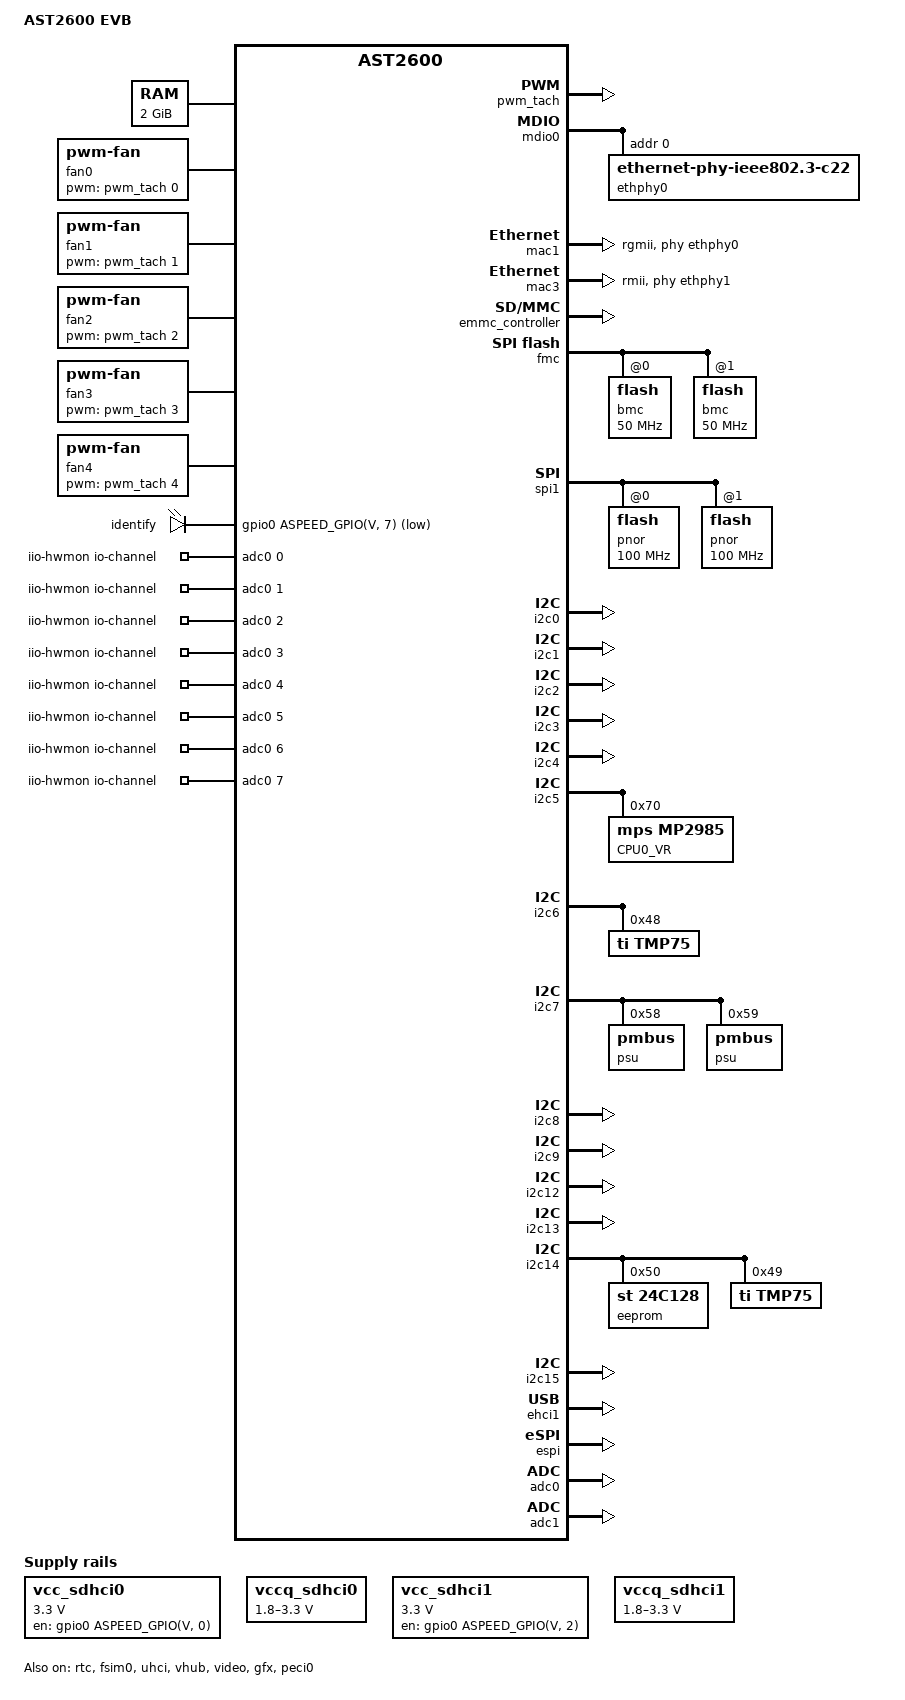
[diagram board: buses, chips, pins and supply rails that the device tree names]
// SPDX-License-Identifier: GPL-2.0-or-later
// Copyright 2019 IBM Corp.

/dts-v1/;

#include "aspeed-g6.dtsi"
#include <dt-bindings/gpio/aspeed-gpio.h>

/ {
	model = "AST2600 EVB";
	compatible = "aspeed,ast2600-evb", "aspeed,ast2600";

	aliases {
		serial4 = &uart5;
	};

	chosen {
		bootargs = "console=ttyS4,115200n8";
	};

	memory@80000000 {
		device_type = "memory";
		reg = <0x80000000 0x80000000>;
	};

	reserved-memory {
		#address-cells = <1>;
		#size-cells = <1>;
		ranges;

		video_engine_memory: video {
			size = <0x04000000>;
			alignment = <0x01000000>;
			compatible = "shared-dma-pool";
			reusable;
		};

		gfx_memory: framebuffer {
			size = <0x01000000>;
			alignment = <0x01000000>;
			compatible = "shared-dma-pool";
			reusable;
		};
	};

	vcc_sdhci0: regulator-vcc-sdhci0 {
		compatible = "regulator-fixed";
		regulator-name = "SDHCI0 Vcc";
		regulator-min-microvolt = <3300000>;
		regulator-max-microvolt = <3300000>;
		gpios = <&gpio0 ASPEED_GPIO(V, 0) GPIO_ACTIVE_HIGH>;
		enable-active-high;
	};

	vccq_sdhci0: regulator-vccq-sdhci0 {
		compatible = "regulator-gpio";
		regulator-name = "SDHCI0 VccQ";
		regulator-min-microvolt = <1800000>;
		regulator-max-microvolt = <3300000>;
		gpios = <&gpio0 ASPEED_GPIO(V, 1) GPIO_ACTIVE_HIGH>;
		gpios-states = <1>;
		states = <3300000 1>,
			 <1800000 0>;
	};

	vcc_sdhci1: regulator-vcc-sdhci1 {
		compatible = "regulator-fixed";
		regulator-name = "SDHCI1 Vcc";
		regulator-min-microvolt = <3300000>;
		regulator-max-microvolt = <3300000>;
		gpios = <&gpio0 ASPEED_GPIO(V, 2) GPIO_ACTIVE_HIGH>;
		enable-active-high;
	};

	vccq_sdhci1: regulator-vccq-sdhci1 {
		compatible = "regulator-gpio";
		regulator-name = "SDHCI1 VccQ";
		regulator-min-microvolt = <1800000>;
		regulator-max-microvolt = <3300000>;
		gpios = <&gpio0 ASPEED_GPIO(V, 3) GPIO_ACTIVE_HIGH>;
		gpios-states = <1>;
		states = <3300000 1>,
			 <1800000 0>;
	};

	fan0: pwm-fan0 {
		compatible = "pwm-fan";
		pwms = <&pwm_tach 0 40000 0>;        /* Target freq:25 kHz */
		cooling-min-state = <0>;
		cooling-max-state = <3>;
		#cooling-cells = <2>;
		cooling-levels = <0 25 128 255>;
	};

	fan1: pwm-fan1 {
		compatible = "pwm-fan";
		pwms = <&pwm_tach 1 40000 0>;        /* Target freq:25 kHz */
		cooling-min-state = <0>;
		cooling-max-state = <3>;
		#cooling-cells = <2>;
		cooling-levels = <0 15 128 255>;
	};

	fan2: pwm-fan2 {
		compatible = "pwm-fan";
		pwms = <&pwm_tach 2 40000 0>;        /* Target freq:25 kHz */
		cooling-min-state = <0>;
		cooling-max-state = <3>;
		#cooling-cells = <2>;
		cooling-levels = <0 15 128 255>;
	};

	fan3: pwm-fan3 {
		compatible = "pwm-fan";
		pwms = <&pwm_tach 3 40000 0>;        /* Target freq:25 kHz */
		cooling-min-state = <0>;
		cooling-max-state = <3>;
		#cooling-cells = <2>;
		cooling-levels = <0 15 128 255>;
	};

	fan4: pwm-fan4 {
		compatible = "pwm-fan";
		pwms = <&pwm_tach 4 40000 0>;        /* Target freq:25 kHz */
		cooling-min-state = <0>;
		cooling-max-state = <3>;
		#cooling-cells = <2>;
		cooling-levels = <0 15 128 255>;
	};

	leds {
		compatible = "gpio-leds";

		identify {
			gpios = <&gpio0 ASPEED_GPIO(V, 7) GPIO_ACTIVE_LOW>;
		};
	};

	iio-hwmon {
		compatible = "iio-hwmon";
		io-channels = <&adc0 0>, <&adc0 1>, <&adc0 2>, <&adc0 3>,
					<&adc0 4>, <&adc0 5>, <&adc0 6>, <&adc0 7>,
					<&adc1 0>, <&adc1 1>, <&adc1 2>, <&adc1 3>,
					<&adc1 4>, <&adc1 5>, <&adc1 6>, <&adc1 7>;
	};
};

&pwm_tach {
	status = "okay";
	pinctrl-names = "default";
	pinctrl-0 = <&pinctrl_pwm0_default
				&pinctrl_pwm1_default
				&pinctrl_pwm2_default
				&pinctrl_pwm3_default
				&pinctrl_pwm4_default
				&pinctrl_tach0_default
				&pinctrl_tach1_default
				&pinctrl_tach2_default
				&pinctrl_tach3_default
				&pinctrl_tach4_default>;
	fan-0 {
		tach-ch = /bits/ 8 <0x0>;
	};
	fan-1 {
		tach-ch = /bits/ 8 <0x1>;
	};
	fan-2 {
		tach-ch = /bits/ 8 <0x2>;
	};
	fan-3 {
		tach-ch = /bits/ 8 <0x3>;
	};
	fan-4 {
		tach-ch = /bits/ 8 <0x4>;
	};
};

&mdio0 {
	status = "okay";
	ethphy0: ethernet-phy@0 {
		compatible = "ethernet-phy-ieee802.3-c22";
		reg = <0>;
	};
};

&mdio1 {
	status = "disabled";

	ethphy1: ethernet-phy@0 {
		compatible = "ethernet-phy-ieee802.3-c22";
		reg = <0>;
	};
};

&mdio2 {
	status = "disabled";

	ethphy2: ethernet-phy@0 {
		compatible = "ethernet-phy-ieee802.3-c22";
		reg = <0>;
	};
};

&mdio3 {
	status = "disabled";

	ethphy3: ethernet-phy@0 {
		compatible = "ethernet-phy-ieee802.3-c22";
		reg = <0>;
	};
};

&mac0 {
	status = "disabled";

	phy-mode = "rgmii-rxid";
	phy-handle = <&ethphy0>;

	pinctrl-names = "default";
	pinctrl-0 = <&pinctrl_rgmii1_default>;
};


&mac1 {
	status = "okay";

	phy-mode = "rgmii";
	phy-handle = <&ethphy0>;

	pinctrl-names = "default";
	pinctrl-0 = <&pinctrl_rgmii2_default>;

	nvmem-cells = <&eth0_macaddress>;
	nvmem-cell-names = "mac-address";
};

&mac2 {
	status = "disabled";

	phy-mode = "rgmii";
	phy-handle = <&ethphy2>;

	pinctrl-names = "default";
	pinctrl-0 = <&pinctrl_rgmii3_default>;
};

&mac3 {
	status = "okay";

	phy-mode = "rmii";
	phy-handle = <&ethphy1>;
	use-ncsi;
	pinctrl-names = "default";
	pinctrl-0 = <&pinctrl_rmii4_default>;

	nvmem-cells = <&eth1_macaddress>;
	nvmem-cell-names = "mac-address";
};

&emmc_controller {
	status = "okay";
};

&emmc {
	status = "disabled";
	non-removable;
	bus-width = <4>;
	max-frequency = <100000000>;
	clk-phase-mmc-hs200 = <9>, <225>;
};

&rtc {
	status = "okay";
};

&fmc {
	status = "okay";
	flash@0 {
		status = "okay";
		m25p,fast-read;
		label = "bmc";
		spi-rx-bus-width = <4>;
		spi-max-frequency = <50000000>;
#include "openbmc-flash-layout-64.dtsi"
	};
	flash@1 {
		status = "okay";
		m25p,fast-read;
		label = "bmc";
		spi-rx-bus-width = <4>;
		spi-max-frequency = <50000000>;
	};
};

&spi1 {
	status = "okay";
	pinctrl-names = "default";
	pinctrl-0 = <&pinctrl_spi1_default>;

	flash@0 {
		status = "okay";
		m25p,fast-read;
		label = "pnor";
		spi-rx-bus-width = <4>;
		spi-max-frequency = <100000000>;
	};
	flash@1 {
		status = "okay";
		m25p,fast-read;
		label = "pnor";
		spi-rx-bus-width = <4>;
		spi-max-frequency = <100000000>;
	};
};

&uart5 {
	// Workaround for A0
	compatible = "snps,dw-apb-uart";
};

&i2c0 {
	status = "okay";
};

&i2c1 {
	status = "okay";
};

&i2c2 {
	status = "okay";
};

&i2c3 {
	status = "okay";
};

&i2c4 {
	status = "okay";
};

&i2c5 {
	status = "okay";
	CPU0_VR@70 {
		compatible = "mps,mp2985";
		reg = <0x70>;
	};
};

&i2c6 {
	status = "okay";
	tmp75@48 {
		compatible = "ti,tmp75";
		reg = <0x48>;
	};
};

&i2c7 {
	status = "okay";
	psu@58 {
		compatible = "pmbus";
		reg = <0x58>;
	};
	psu@59 {
		compatible = "pmbus";
		reg = <0x59>;
	};
};

&i2c8 {
	status = "okay";
};

&i2c9 {
	status = "okay";
};

&i2c12 {
	status = "okay";
};

&i2c13 {
	status = "okay";
};

&i2c14 {
	status = "okay";
	eeprom@50 {
		label = "eeprom";
		compatible = "st,24c128", "atmel,24c128";
		reg = <0x50>;
		pagesize = <16>;
		#address-cells = <1>;
		#size-cells = <1>;
		#nvmem-cell-cells = <2>;
		nvmem-layout {
			compatible = "fixed-layout";

			eth0_macaddress: macaddress@c9 {
				reg = <0xc9 6>;
			};

			eth1_macaddress: macaddress@e3 {
				reg = <0xe3 6>;
			};
		};
	};
	tmp75@49 {
		compatible = "ti,tmp75";
		reg = <0x49>;
	};
};

&i2c15 {
	status = "okay";
};

&fsim0 {
	status = "okay";
};

&ehci1 {
	status = "okay";
};

&uhci {
	status = "okay";
};

/*
 * The signal voltage of sdhci0 and sdhci1 on AST2600-A2 EVB is able to be
 * toggled by GPIO pins.
 * In the reference design, GPIOV0 of AST2600-A2 EVB is connected to the
 * power load switch that provides 3.3v to sdhci0 vdd, GPIOV1 is connected to
 * a 1.8v and a 3.3v power load switch that provides signal voltage to
 * sdhci0 bus.
 * If GPIOV0 is active high, sdhci0 is enabled, otherwise, sdhci0 is disabled.
 * If GPIOV1 is active high, 3.3v power load switch is enabled, sdhci0 signal
 * voltage is 3.3v, otherwise, 1.8v power load switch will be enabled,
 * sdhci0 signal voltage becomes 1.8v.
 * AST2600-A2 EVB also supports toggling signal voltage for sdhci1.
 * The design is the same as sdhci0, it uses GPIOV2 as power-gpio and GPIOV3
 * as power-switch-gpio.
 */

&vhub {
	status = "okay";
	pinctrl-names = "default";
};

&video {
	status = "okay";
	memory-region = <&video_engine_memory>;
};

&gfx {
	status = "okay";
	memory-region = <&gfx_memory>;
};

&espi {
	status = "okay";
};

&syscon {
	uart-clock-high-speed;
	mac1-clk-delay = <0x10 0x19
						0x10 0x10
						0x10 0x10>;
};

&gpio0 {
	/* Enable GPIOP0 and GPIOP2 pass-through by default */
	pinctrl-names = "pass-through";
	pinctrl-0 = <&pinctrl_thru0_default
				 &pinctrl_thru1_default>;
	gpio-line-names =
		/*A0 - A7*/     "", "", "", "", "", "", "", "",
		/*B0 - B7*/     "", "", "", "", "", "", "", "",
		/*C0 - C7*/     "", "", "", "", "", "", "", "",
		/*D0 - D7*/     "", "", "", "", "", "", "", "",
		/*E0 - E7*/     "", "", "", "", "", "", "", "",
		/*F0 - F7*/     "", "", "", "", "", "", "", "",
		/*G0 - G7*/     "", "", "cpld-fw-ready", "", "", "", "", "id-button",
		/*H0 - H7*/     "", "", "", "", "", "", "", "",
		/*I0 - I7*/     "", "", "", "", "", "", "", "",
		/*J0 - J7*/     "", "", "", "", "", "", "", "",
		/*K0 - K7*/     "", "", "", "", "", "", "", "",
		/*L0 - L7*/     "", "", "", "", "", "", "", "",
		/*M0 - M7*/     "", "", "", "", "", "", "", "",
		/*N0 - N7*/     "", "", "", "", "", "", "", "",
		/*O0 - O7*/     "", "", "", "", "", "", "", "",
		/*P0 - P7*/     "POWER_BUTTON", "POWER_OUT", "RESET_BUTTON", "RESET_OUT", "", "", "BAT_CTRL", "",
		/*Q0 - Q7*/     "", "", "", "", "", "", "", "",
		/*R0 - R7*/     "POST_COMPLETE", "", "", "", "", "", "", "",	// POST_COMPLETE is dummy
		/*S0 - S7*/     "", "", "", "", "", "", "", "",
		/*T0 - T7*/     "", "", "", "", "", "", "", "",
		/*U0 - U7*/     "", "", "", "", "", "", "", "",
		/*V0 - V7*/     "", "", "", "", "", "", "", "led-identify",
		/*W0 - W7*/     "", "", "", "", "", "", "", "",
		/*X0 - X7*/     "", "", "", "", "", "", "", "",
		/*Y0 - Y7*/     "", "", "", "", "", "", "", "",
		/*Z0 - Z7*/     "", "", "", "", "", "", "", "";
};

&gpio1{
	gpio-line-names =
	/*AA0 - AA7*/   "PS_PWROK", "", "", "", "", "", "", "",
	/*AB0 - AB7*/   "", "", "", "", "", "", "", "",
	/*AC0 - AC7*/   "", "", "", "", "", "", "", "";
};

&adc0 {
	status = "okay";

	aspeed,int-vref-microvolt = <2500000>;

	/*If you want to set external reference voltage(i.e. not 1.2V or 2.5V).
		You should add vref-supply property as below and set the microvolt
		value at vdd_adc_vref node.*/
	//vref-supply = <&vdd_adc_vref>;

	pinctrl-names = "default";
	pinctrl-0 = <&pinctrl_adc0_default &pinctrl_adc1_default
				&pinctrl_adc2_default &pinctrl_adc3_default
				&pinctrl_adc4_default &pinctrl_adc5_default
				&pinctrl_adc6_default &pinctrl_adc7_default>;
};

&adc1 {
	status = "okay";

	aspeed,int-vref-microvolt = <2500000>;

	/*If you want to set external reference voltage(i.e. not 1.2V or 2.5V).
		You should add vref-supply property as below and set the microvolt
		value at vdd_adc_vref node.*/
	//vref-supply = <&vdd_adc_vref>;

	pinctrl-names = "default";
	pinctrl-0 = <&pinctrl_adc8_default &pinctrl_adc9_default
				&pinctrl_adc10_default &pinctrl_adc11_default
				&pinctrl_adc12_default &pinctrl_adc13_default
				&pinctrl_adc14_default &pinctrl_adc15_default>;
};

&peci0 {
	status = "okay";
};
